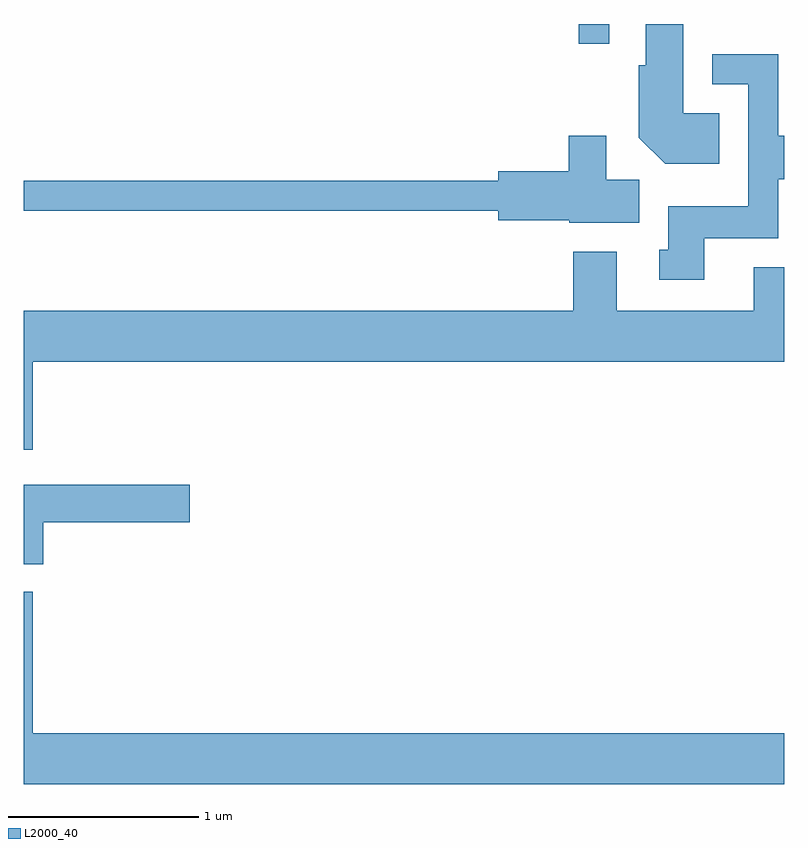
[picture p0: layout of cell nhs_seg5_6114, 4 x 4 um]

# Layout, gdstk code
import gdstk
lib = gdstk.Library(unit=1e-6, precision=1e-09)
def R(c, l, rs):  # rectangles x0, y0, x1, y1
    for r in rs: c.add(gdstk.rectangle(r[:2], r[2:], *l))
def P(c, l, *ps):  # polygons
    for p in ps: c.add(gdstk.Polygon(p, *l))
L2000_40 = (2000, 40)

nhs_seg5_6114 = lib.new_cell('nhs_seg5_6114')
R(nhs_seg5_6114, L2000_40, [(368.531,1513.968,368.689,1514.072)])
P(nhs_seg5_6114, L2000_40, [(369.269,1513.604),(369.079,1513.604),(369.079,1514.072),(368.881,1514.072),(368.881,1513.854),(368.846,1513.854),(368.846,1513.474),(368.984,1513.336),(369.269,1513.336)],
  [(369.189,1512.946),(369.579,1512.946),(369.579,1513.256),(369.611,1513.256),(369.611,1513.484),(369.579,1513.484),(369.579,1513.914),(369.233,1513.914),(369.233,1513.756),(369.421,1513.756),(369.421,1513.114),(369.001,1513.114),(369.001,1512.884),(368.953,1512.884),(368.953,1512.726),(369.189,1512.726)],
  [(368.849,1513.254),(368.674,1513.254),(368.674,1513.484),(368.476,1513.484),(368.476,1513.299),(368.106,1513.299),(368.106,1513.249),(365.611,1513.249),(365.611,1513.091),(368.106,1513.091),(368.106,1513.041),(368.48,1513.041),(368.48,1513.026),(368.849,1513.026)],
  [(365.659,1512.296),(369.611,1512.296),(369.611,1512.794),(369.451,1512.794),(369.451,1512.564),(368.729,1512.564),(368.729,1512.874),(368.501,1512.874),(368.501,1512.564),(365.611,1512.564),(365.611,1511.833),(365.659,1511.833)],
  [(365.714,1511.451),(366.484,1511.451),(366.484,1511.649),(365.611,1511.649),(365.611,1511.231),(365.714,1511.231)],
  [(369.611,1510.344),(365.659,1510.344),(365.659,1511.088),(365.611,1511.088),(365.611,1510.076),(369.611,1510.076)])

lib.write_gds('nhs_seg5_6114.gds')
